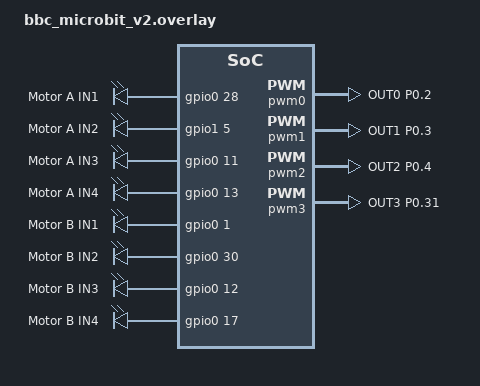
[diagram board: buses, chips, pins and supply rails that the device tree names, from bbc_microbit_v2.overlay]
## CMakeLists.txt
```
cmake_minimum_required(VERSION 3.20.0)
find_package(Zephyr REQUIRED HINTS $ENV{ZEPHYR_BASE})

project(reciver)

target_sources(app PRIVATE
    src/main.c
    src/receiver_ble.c
    src/motor_controls.c
    src/pwm.c
    src/car_control.c
)
```

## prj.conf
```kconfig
CONFIG_SERIAL=y
CONFIG_CONSOLE=y
CONFIG_UART_CONSOLE=y
CONFIG_PRINTK=y

CONFIG_GPIO=y
CONFIG_PWM=y

CONFIG_SYSTEM_WORKQUEUE_STACK_SIZE=2048
CONFIG_MAIN_STACK_SIZE=2048
CONFIG_HEAP_MEM_POOL_SIZE=4096

# Bluetooth - Central (receiver scanner)
CONFIG_BT=y
CONFIG_BT_CENTRAL=y
CONFIG_BT_DEVICE_NAME="BLE_Car"
CONFIG_BT_MAX_CONN=1
CONFIG_BT_GATT_CLIENT=y
CONFIG_BT_GATT_DYNAMIC_DB=y

# Buffer
CONFIG_BT_L2CAP_TX_BUF_COUNT=8
CONFIG_BT_L2CAP_TX_MTU=65
CONFIG_BT_BUF_ACL_RX_SIZE=70
CONFIG_BT_BUF_ACL_TX_SIZE=27

# Connection timeout
CONFIG_BT_CREATE_CONN_TIMEOUT=15

# Scan
CONFIG_BT_SCAN=y
```

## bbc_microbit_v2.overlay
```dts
/{
    motor_direction_pins{

        compatible = "gpio-leds";
        motor_a_in1: motor_a_in1 {
            gpios = <&gpio0 28 0>; // edgeconnector P4;
            label = "Motor A IN1";
        };
        motor_a_in2: motor_a_in2 {
            gpios = <&gpio1 5 0>; // edgeconnector P6;
            label = "Motor A IN2";
        };
        motor_a_in3: motor_a_in3 {
            gpios = <&gpio0 11 0>; // edgeconnector P7;
            label = "Motor A IN3";
        };
        motor_a_in4: motor_a_in4 {
            gpios = <&gpio0 13 0>; // edgeconnector P15;
            label = "Motor A IN4";
        };
        motor_b_in1: motor_b_in1 {
            gpios = <&gpio0 1 0>; // edgeconnector P14
            label = "Motor B IN1";
        };
        motor_b_in2: motor_b_in2 {
            gpios = <&gpio0 30 0>; // edgeconnector P10
            label = "Motor B IN2";
        };
        motor_b_in3: motor_b_in3 {
            gpios = <&gpio0 12 0>; // edgeconnector P12;
            label = "Motor B IN3";
        };
        motor_b_in4: motor_b_in4 {
            gpios = <&gpio0 17 0>; // edgeconnector P13;
            label = "Motor B IN4";
        };
    };
};
    




&pinctrl {
    pwm0_default_alt: pwm0_default_alt {
        group1 {
            psels = <NRF_PSEL(PWM_OUT0, 0, 2)>; //on edgeconnector P0
            nordic,invert;
        };
    };
    pwm0_sleep_alt: pwm0_sleep_alt {
        group1 {
            psels = <NRF_PSEL(PWM_OUT0, 0, 2)>; //on edgeconnector P0
            low-power-enable;
        };
    };

    pwm1_default_alt: pwm1_default_alt {
        group1 {
            psels = <NRF_PSEL(PWM_OUT1, 0, 3)>; //on edgeconnector P1
            nordic,invert;
        };
    };

    pwm1_sleep_alt: pwm1_sleep_alt {
        group1 {
            psels = <NRF_PSEL(PWM_OUT1, 0, 3)>; //on edgeconnector P1
            low-power-enable;
        };
    };

    pwm2_default_alt: pwm2_default_alt {
        group1 {
            psels = <NRF_PSEL(PWM_OUT2, 0, 4)>; //on edgeconnector P2
            nordic,invert;
        };
    };

    pwm2_sleep_alt: pwm2_sleep_alt {
        group1 {
            psels = <NRF_PSEL(PWM_OUT2, 0, 4)>; //on edgeconnector P2
            low-power-enable;
        };
    };

    pwm3_default_alt: pwm3_default_alt {
        group1 {
            psels = <NRF_PSEL(PWM_OUT3, 0, 31)>; //on edgeconnector P3
            nordic,invert;
        };
    };

    pwm3_sleep_alt: pwm3_sleep_alt {
        group1 {
            psels = <NRF_PSEL(PWM_OUT3, 0, 31)>; //on edgeconnector P3
            low-power-enable;
        };
    };
};


&pwm0 {
    status = "okay";
    pinctrl-0 = <&pwm0_default_alt>;
    pinctrl-1 = <&pwm0_sleep_alt>;
    pinctrl-names = "default", "sleep";
    label = "PWM_0";
};
&pwm1 {
    status = "okay";
    pinctrl-0 = <&pwm1_default_alt>;
    pinctrl-1 = <&pwm1_sleep_alt>;
    pinctrl-names = "default", "sleep";
    label = "PWM_1";
};
&pwm2 {
    status = "okay";
    pinctrl-0 = <&pwm2_default_alt>;
    pinctrl-1 = <&pwm2_sleep_alt>;
    pinctrl-names = "default", "sleep";
    label = "PWM_2";
};
&pwm3 {
    status = "okay";
    pinctrl-0 = <&pwm3_default_alt>;
    pinctrl-1 = <&pwm3_sleep_alt>;
    pinctrl-names = "default", "sleep";
    label = "PWM_3";
};
```

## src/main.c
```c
#include <zephyr/kernel.h>
#include <zephyr/sys/printk.h>
#include <zephyr/drivers/gpio.h>
#include <zephyr/drivers/pwm.h>
#include <stdint.h>
#include "pwm.h"
#include "motor_controls.h"
#include "serial.h"
#include "gatekeeper.h"
#include <zephyr/device.h>
#include <zephyr/drivers/uart.h>
#include "car_control.h"

int main(void)
{
    // Initialize car controller
    if (car_controller_init() != 0) {
        printk("Car controller initialization failed!\n");
        return -1;
    }

    // motors_start();
    Serial_begin(); 
    car_controller_start();

    while (1) {
        car_controller_check_timeout();
        timeout_control();
        k_msleep(50);
    };
    return 0;
}
```

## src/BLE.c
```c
//BLE.c - Receiver SIMPLIFIED VERSION

#include "BLE.h"
#include <zephyr/kernel.h>
#include <zephyr/sys/printk.h>
#include <zephyr/bluetooth/gatt.h>
#include <zephyr/bluetooth/uuid.h>

#define JOYSTICK_SVC_UUID \
	BT_UUID_128_ENCODE(0x12345678, 0x1234, 0x5678, 0x1234, 0x56789abcdef0)
#define JOYSTICK_CHR_UUID \
	BT_UUID_128_ENCODE(0x12345678, 0x1234, 0x5678, 0x1234, 0x56789abcdef1)

static struct bt_uuid_128 joystick_svc_uuid = BT_UUID_INIT_128(JOYSTICK_SVC_UUID);
static struct bt_uuid_128 joystick_chr_uuid = BT_UUID_INIT_128(JOYSTICK_CHR_UUID);
static struct bt_uuid *gatt_ccc_uuid = BT_UUID_GATT_CCC;

static struct bt_gatt_discover_params discov_param;
static struct bt_gatt_subscribe_params subscribe_param;
static struct bt_conn *default_conn;
static joystick_data_callback_t user_callback = NULL;

/* Scan work for reconnect */
static void restart_scan_work(struct k_work *work);
K_WORK_DELAYABLE_DEFINE(scan_work, restart_scan_work);

static void restart_scan_work(struct k_work *work)
{
	if (!default_conn) {
		printk("Restarting scan...\n");
		ble_start_scan();
	}
}

/* Notification callback */
static uint8_t notify_func(struct bt_conn *conn,
                           struct bt_gatt_subscribe_params *param,
                           const void *buf, uint16_t len)
{
	if (!buf || !len) {
		printk("Unsubscribed\n");
		return BT_GATT_ITER_STOP;
	}

	if (len == sizeof(struct joystick_data) && user_callback) {
		user_callback((const struct joystick_data *)buf);
	}
	return BT_GATT_ITER_CONTINUE;
}

/* GATT discovery */
static uint8_t discover_func(struct bt_conn *conn,
                             const struct bt_gatt_attr *attr,
                             struct bt_gatt_discover_params *param)
{
	int err;

	if (!attr) {
		printk("Discovery complete\n");
		return BT_GATT_ITER_STOP;
	}

	if (param->uuid == &joystick_svc_uuid.uuid) {
		printk("Service found\n");
		discov_param.uuid = &joystick_chr_uuid.uuid;
		discov_param.start_handle = attr->handle + 1;
		discov_param.type = BT_GATT_DISCOVER_CHARACTERISTIC;
		bt_gatt_discover(conn, &discov_param);
	} else if (param->uuid == &joystick_chr_uuid.uuid) {
		printk("Characteristic found\n");
		discov_param.uuid = gatt_ccc_uuid;
		discov_param.start_handle = attr->handle + 2;
		discov_param.type = BT_GATT_DISCOVER_DESCRIPTOR;
		subscribe_param.value_handle = attr->handle + 1;
		bt_gatt_discover(conn, &discov_param);
	} else {
		printk("Subscribing...\n");
		subscribe_param.notify = notify_func;
		subscribe_param.value = BT_GATT_CCC_NOTIFY;
		subscribe_param.ccc_handle = attr->handle;

		err = bt_gatt_subscribe(conn, &subscribe_param);
		if (err && err != -EALREADY) {
			printk("Subscribe failed: %d\n", err);
		} else {
			printk("Subscribed - READY!\n");
		}
	}
	return BT_GATT_ITER_STOP;
}

/* Scan callback */
static void device_found(const bt_addr_le_t *addr, int8_t rssi, uint8_t type,
                         struct net_buf_simple *ad_buf)
{
	if (default_conn || type != BT_GAP_ADV_TYPE_ADV_IND) return;

	while (ad_buf->len > 1) {
		uint8_t len = net_buf_simple_pull_u8(ad_buf);
		if (len == 0U || len > ad_buf->len) return;

		uint8_t ad_type = net_buf_simple_pull_u8(ad_buf);

		if (ad_type == BT_DATA_UUID128_ALL && len == 17) {
			if (!memcmp(ad_buf->data, joystick_svc_uuid.val, 16)) {
				char addr_str[BT_ADDR_LE_STR_LEN];
				bt_addr_le_to_str(addr, addr_str, sizeof(addr_str));
				printk("Found joystick: %s (RSSI %d)\n", addr_str, rssi);

				bt_le_scan_stop();

				/* Connect med default parametere - sender vil oppdatere */
				int err = bt_conn_le_create(addr, BT_CONN_LE_CREATE_CONN,
				                            BT_LE_CONN_PARAM_DEFAULT, &default_conn);
				if (err) {
					printk("Connect failed: %d\n", err);
					k_work_schedule(&scan_work, K_MSEC(500));
				}
				return;
			}
		}
		net_buf_simple_pull(ad_buf, len - 1);
	}
}

/* Connection callbacks */
static void connected(struct bt_conn *conn, uint8_t err)
{
	char addr[BT_ADDR_LE_STR_LEN];
	bt_addr_le_to_str(bt_conn_get_dst(conn), addr, sizeof(addr));

	if (err) {
		printk("Connect to %s failed: 0x%02x\n", addr, err);
		if (default_conn) {
			bt_conn_unref(default_conn);
			default_conn = NULL;
		}
		k_work_schedule(&scan_work, K_MSEC(200));
		return;
	}

	printk("Connected: %s\n", addr);

	/* Start discovery */
	discov_param.uuid = &joystick_svc_uuid.uuid;
	discov_param.func = discover_func;
	discov_param.start_handle = BT_ATT_FIRST_ATTRIBUTE_HANDLE;
	discov_param.end_handle = BT_ATT_LAST_ATTRIBUTE_HANDLE;
	discov_param.type = BT_GATT_DISCOVER_PRIMARY;

	err = bt_gatt_discover(default_conn, &discov_param);
	if (err) {
		printk("Discovery failed: %d\n", err);
	}
}

static void disconnected(struct bt_conn *conn, uint8_t reason)
{
	printk("Disconnected: 0x%02x\n", reason);

	if (default_conn) {
		bt_conn_unref(default_conn);
		default_conn = NULL;
	}

	/* Rask reconnect - 100ms */
	k_work_schedule(&scan_work, K_MSEC(100));
}

/* Connection parameter update callback */
static void le_param_updated(struct bt_conn *conn, uint16_t interval,
                             uint16_t latency, uint16_t timeout)
{
	printk("Conn params: interval=%d (%.1fms), timeout=%d (%dms)\n",
	       interval, interval * 1.25, timeout, timeout * 10);
}

static struct bt_conn_cb conn_callbacks = {
	.connected = connected,
	.disconnected = disconnected,
	.le_param_updated = le_param_updated,
};

/* Public API */
int ble_init(joystick_data_callback_t cb)
{
	user_callback = cb;

	int err = bt_enable(NULL);
	if (err) {
		printk("BT init failed: %d\n", err);
		return err;
	}
	printk("Bluetooth ready\n");
	bt_conn_cb_register(&conn_callbacks);
	return 0;
}

int ble_start_scan(void)
{
	if (default_conn) return 0;

	int err = bt_le_scan_start(BT_LE_SCAN_PASSIVE, device_found);
	if (err && err != -EALREADY) {
		printk("Scan failed: %d\n", err);
		return err;
	}
	printk("Scanning for BitPlayer_Joy...\n");
	return 0;
}

bool ble_is_connected(void)
{
	return default_conn != NULL;
}
```

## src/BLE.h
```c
#ifndef BLE_H
#define BLE_H

#include <zephyr/bluetooth/bluetooth.h>
#include <zephyr/bluetooth/conn.h>
#include <stdbool.h>

struct joystick_data {
	int16_t x_pos;
	int16_t y_pos;
	uint8_t buttons;
} __packed;

#define BTN_A_MASK (1 << 0)
#define BTN_B_MASK (1 << 1)

typedef void (*joystick_data_callback_t)(const struct joystick_data *data);

int ble_init(joystick_data_callback_t cb);
int ble_start_scan(void);
bool ble_is_connected(void);

#endif
```

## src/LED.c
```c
#include <zephyr/kernel.h>
#include <zephyr/sys/printk.h>
#include <zephyr/drivers/gpio.h>
#include <stdint.h>

#include "LED.h"

/* GPIO specs from devicetree */
static const struct gpio_dt_spec led_test = GPIO_DT_SPEC_GET(DT_NODELABEL(led_test), gpios);
static const struct gpio_dt_spec led_up = GPIO_DT_SPEC_GET(DT_NODELABEL(led_up), gpios);
static const struct gpio_dt_spec led_down = GPIO_DT_SPEC_GET(DT_NODELABEL(led_down), gpios);
static const struct gpio_dt_spec led_left = GPIO_DT_SPEC_GET(DT_NODELABEL(led_left), gpios);
static const struct gpio_dt_spec led_right = GPIO_DT_SPEC_GET(DT_NODELABEL(led_right), gpios);

/* LED mapping structure */
typedef struct {
    const struct gpio_dt_spec *spec;
    const char *label;
} led_channel_t;

static const led_channel_t leds[] = {
    {&led_up,    "LED Up"},
    {&led_down,  "LED Down"},
    {&led_left,  "LED Left"},
    {&led_right, "LED Right"}
};

/* Joystick thresholds */
#define THRESHOLD_HIGH  700
#define THRESHOLD_LOW   300
#define NEUTRAL_MIN     400
#define NEUTRAL_MAX     600

/* Idle animation system */
#define IDLE_ANIMATION_INTERVAL_MS  150  /* Hastighet på animasjon */

static struct k_work_delayable idle_work;
static bool idle_running = false;
static uint8_t idle_step = 0;

/* Animasjonsmønster: roterer rundt (Up -> Right -> Down -> Left -> ...) */
static const LED_Name animation_pattern[] = {
    LED_Up,
    LED_Right,
    LED_Down,
    LED_Left
};
#define ANIMATION_STEPS (sizeof(animation_pattern) / sizeof(animation_pattern[0]))

/* Idle animation work handler */
static void idle_animation_handler(struct k_work *work)
{
    if (!idle_running) {
        return;
    }

    /* Slå av alle LED-er */
    led_all_off();

    /* Tenn neste LED i mønsteret */
    led_set(animation_pattern[idle_step], LED_On);

    /* Gå til neste steg */
    idle_step = (idle_step + 1) % ANIMATION_STEPS;

    /* Schedule neste steg */
    k_work_reschedule(&idle_work, K_MSEC(IDLE_ANIMATION_INTERVAL_MS));
}

int led_init(void)
{
    int ret;

    printk("Initializing LED system...\n");

    /* Configure test LED first */
    if (!gpio_is_ready_dt(&led_test)) {
        printk("Error: Test LED GPIO device not ready\n");
        return -1;
    }

    ret = gpio_pin_configure_dt(&led_test, GPIO_OUTPUT_ACTIVE);
    if (ret < 0) {
        printk("Error: Failed to configure test LED (err %d)\n", ret);
        return ret;
    }
    
    printk("Test LED (P1) initialized and turned ON\n");

    /* Configure all direction LED pins as output */
    for (size_t i = 0; i < ARRAY_SIZE(leds); i++) {
        if (!gpio_is_ready_dt(leds[i].spec)) {
            printk("Error: LED GPIO device not ready for %s\n", leds[i].label);
            return -1;
        }

        ret = gpio_pin_configure_dt(leds[i].spec, GPIO_OUTPUT_INACTIVE);
        if (ret < 0) {
            printk("Error: Failed to configure %s (err %d)\n", leds[i].label, ret);
            return ret;
        }
    }

    /* Initialize idle animation work */
    k_work_init_delayable(&idle_work, idle_animation_handler);

    printk("LED system initialized successfully\n");
    printk("  - LED Test:  P%d (ALWAYS ON)\n", led_test.pin);
    printk("  - LED Up:    P%d\n", led_up.pin);
    printk("  - LED Down:  P%d\n", led_down.pin);
    printk("  - LED Left:  P%d\n", led_left.pin);
    printk("  - LED Right: P%d\n", led_right.pin);
    printk("  - Idle animation: %d ms interval\n", IDLE_ANIMATION_INTERVAL_MS);

    return 0;
}

void led_set(LED_Name led, LED_State state)
{
    if (led >= ARRAY_SIZE(leds)) {
        printk("Error: Invalid LED selection.\n");
        return;
    }

    const led_channel_t *selected_led = &leds[led];
    int value = (state == LED_On) ? 1 : 0;

    gpio_pin_set_dt(selected_led->spec, value);
}

void led_all_off(void)
{
    for (size_t i = 0; i < ARRAY_SIZE(leds); i++) {
        gpio_pin_set_dt(leds[i].spec, 0);
    }
    /* Test LED forblir på */
}

void led_update_direction(int16_t x_pos, int16_t y_pos)
{
    /* Turn off all LEDs first */
    led_all_off();

    /* Check Y-axis (UP/DOWN) */
    if (y_pos > THRESHOLD_HIGH) {
        led_set(LED_Up, LED_On);
        printk("Direction: UP (Y=%d)\n", y_pos);
    } else if (y_pos < THRESHOLD_LOW) {
        led_set(LED_Down, LED_On);
        printk("Direction: DOWN (Y=%d)\n", y_pos);
    }

    /* Check X-axis (LEFT/RIGHT) */
    if (x_pos > THRESHOLD_HIGH) {
        led_set(LED_Right, LED_On);
        printk("Direction: RIGHT (X=%d)\n", x_pos);
    } else if (x_pos < THRESHOLD_LOW) {
        led_set(LED_Left, LED_On);
        printk("Direction: LEFT (X=%d)\n", x_pos);
    }

    /* If in neutral zone, no LED lights up */
    if (x_pos >= NEUTRAL_MIN && x_pos <= NEUTRAL_MAX &&
        y_pos >= NEUTRAL_MIN && y_pos <= NEUTRAL_MAX) {
        printk("Direction: NEUTRAL\n");
    }
}

void led_start_idle_animation(void)
{
    if (idle_running) {
        return;  /* Allerede kjører */
    }

    printk(">>> Starting idle animation <<<\n");
    idle_running = true;
    idle_step = 0;

    /* Start animasjonen */
    k_work_reschedule(&idle_work, K_NO_WAIT);
}

void led_stop_idle_animation(void)
{
    if (!idle_running) {
        return;  /* Kjører ikke */
    }

    printk(">>> Stopping idle animation <<<\n");
    idle_running = false;

    /* Stopp work og slå av LED-er */
    k_work_cancel_delayable(&idle_work);
    led_all_off();
}
```

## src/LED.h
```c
#ifndef LED_H
#define LED_H

#include <stdint.h>

typedef enum {
    LED_Up,
    LED_Down,
    LED_Left,
    LED_Right
} LED_Name;

typedef enum {
    LED_Off,
    LED_On
} LED_State;

/**
 * @brief Initialize LED system
 * @return 0 on success, negative on error
 */
int led_init(void);

/**
 * @brief Control a single LED
 * @param led LED to control
 * @param state LED_On or LED_Off
 */
void led_set(LED_Name led, LED_State state);

/**
 * @brief Turn off all LEDs
 */
void led_all_off(void);

/**
 * @brief Update LEDs based on joystick position
 * @param x_pos X position from joystick (0-1023)
 * @param y_pos Y position from joystick (0-1023)
 */
void led_update_direction(int16_t x_pos, int16_t y_pos);

/**
 * @brief Start idle animation (rotating pattern)
 */
void led_start_idle_animation(void);

/**
 * @brief Stop idle animation
 */
void led_stop_idle_animation(void);

#endif /* LED_H */
```

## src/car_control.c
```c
#include <zephyr/kernel.h>
#include <zephyr/sys/printk.h>

#include "car_control.h"
#include "receiver_ble.h"
#include "motor_controls.h"

#define TIMEOUT_MS 1000      /* Stopp motorene hvis ingen data på 1 sekund */

static Motor_direction current_dir = Stop;
static uint8_t current_speed = 0;
static int64_t last_rx = 0;
static bool motors_on = false;

static const char *dir_name(Motor_direction d)
{
    switch (d) {
        case Forward: return "FWD";
        case Backward: return "BWD";
        case Rotate_Right: return "ROT_R";
        case Rotate_Left: return "ROT_L";
        case Right: return "RIGHT";
        case Left: return "LEFT";
        case Stop: return "STOP";
        case Idle: return "IDLE";
        default: return "?";
    }
}

static void on_drive_data(Motor_direction dir, uint8_t speed)
{
  
    last_rx = k_uptime_get();

    if (dir == Idle) {
        bluetouth_release(); // Frigjør kontroll hvis Idle mottatt (Gjør at serial tar over)
        // bt_active = false; Serial tar over i bluetouth_release
        return;
    }

    bluetouth_signal_recived(); // Oppdater timeout
    // bt_active = true; Serial blir blokket

    printk("[RX] %-5s %3d%%\n", dir_name(dir), speed);

    if(dir == Stop){
        if (motors_on) {
            Stop_motors();
            motors_on = false;
        }
    } else {
        Drive_motors(dir, speed);
        motors_on = true;
    }
}

int car_controller_init(void)
{
    printk("\n=== BLE Car Receiver ===\n");
    printk("Receives Motor_direction directly\n\n");

    /* Init motors */
    if (motors_start() != 0) {
        printk("Motor init failed\n");
        return -1;
    }
    printk("Motors ready\n");

    /* Init BLE */
    if (ble_init(on_drive_data) != 0) {
        printk("BLE init failed\n");
        return -1;
    }
    printk("BLE initialized\n");
    return 0;

}

void car_controller_start(void){
    ble_start_scan();
}

// Periodisk sjekk for timeout
void car_controller_check_timeout(void){ 
    /* Main loop - bare timeout sjekk */
    if (last_rx > 0 && motors_on) {
        int64_t age = k_uptime_get() - last_rx;
        if (age > TIMEOUT_MS) {
            printk("[TIMEOUT] Stopping\n");
            Stop_motors();
            motors_on = false;
        }
    }
}
```

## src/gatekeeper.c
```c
#include <zephyr/kernel.h>
#include <zephyr/sys/printk.h>
#include "gatekeeper.h"
#include "motor_controls.h"
#include "serial.h"

static bool bt_active = false; 
static int64_t bt_timer_until_timeout = 0;

#define CONTROL_TIMEOUT_MS 3000 // 3 sekunder

// Kalles når Bluetooth kontroll mottar signal
void bluetouth_signal_recived(){
    bt_timer_until_timeout = k_uptime_get();
    if(!bt_active){
        printk("Bluetooth control activated.\n");
        bt_active = true;
    }
}

// Kalles når Bluetooth kontroll frigis (Gjør at serial tar over)
void bluetouth_release(){
    if(bt_active){
        bt_active = false;
        printk("Bluetooth control released.\n");
        execute_serial_last_action();// Gjenoppta siste serial handling // kan fjær
    }
}

// Kalles periodisk for å sjekke om Bluetooth kontroll skal frigjøres
void timeout_control(){
    if(bt_active){
        int64_t current_time = k_uptime_get();
        if(current_time - bt_timer_until_timeout >= CONTROL_TIMEOUT_MS){
            bt_active = false;
            printk("Bluetooth control deactivated due to timeout.\n");
            execute_serial_last_action(); // Gjenoppta siste serial handling // kan fjærnees men serial vil ikke gjennoppta handling før ny serial kommando mottas
        }
    }
}


bool bluetouth_in_control(){ // sjekker om knapper er trykket
    return bt_active; 
}
```

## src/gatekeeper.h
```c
#ifndef GATEKEEPER_H
#define GATEKEEPER_H

#include <stdbool.h>

void bluetouth_signal_recived();
void bluetouth_release(); // Frigjør Bluetooth kontroll
void timeout_control();

bool bluetouth_in_control();

#endif
```

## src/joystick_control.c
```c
#include <zephyr/sys/printk.h>
#include "joystick_control.h"
#include "motor_controls.h"

#define JOY_CENTER      512
#define JOY_DEADZONE    50
#define JOY_MAX         1023

static int16_t last_y_pos = JOY_CENTER;

static int16_t last_x_pos = JOY_CENTER;

void joystick_drive(int16_t x_pos, int16_t y_pos)
{
    int32_t forward = 0;
    int32_t turn = 0;

    /* Y axis = forward/backward */
    if (y_pos > JOY_CENTER + JOY_DEADZONE) {
        forward = ((y_pos - JOY_CENTER) * 100) / (JOY_MAX - JOY_CENTER);
    } else if (y_pos < JOY_CENTER - JOY_DEADZONE) {
        forward = ((y_pos - JOY_CENTER) * 100) / JOY_CENTER;
    }

    /* X axis = turning */
    if (x_pos > JOY_CENTER + JOY_DEADZONE) {
        turn = ((x_pos - JOY_CENTER) * 100) / (JOY_MAX - JOY_CENTER);
    } else if (x_pos < JOY_CENTER - JOY_DEADZONE) {
        turn = ((x_pos - JOY_CENTER) * 100) / JOY_CENTER;
    }

    /* Ingen input - stopp */
    if (forward == 0 && turn == 0) {

        bool was_forward = last_y_pos > (JOY_CENTER + JOY_DEADZONE);
        bool going_backward = y_pos < (JOY_CENTER - JOY_DEADZONE);

       
        bool was_backward = last_y_pos < (JOY_CENTER - JOY_DEADZONE);
        bool going_forward = y_pos > (JOY_CENTER + JOY_DEADZONE);

        bool was_active = (last_y_pos > JOY_CENTER + JOY_DEADZONE) || 
                          (last_y_pos < JOY_CENTER - JOY_DEADZONE);

        if (was_active)
        {
             Stop_motors(); 
             // Legg inn en liten forsinkelse her hvis problemet vedvarer (ikke ideelt, men kan hjelpe L298N)
             // k_sleep(K_MSEC(1)); 
        }
        
        last_y_pos = y_pos;
        last_x_pos = x_pos;

        return;
    }



    /* Tank drive mixing - forward + turn */
    int32_t left = forward + turn;
    int32_t right = forward - turn;

    /* Clamp til -100 til +100 */
    if (left > 100) left = 100;
    if (left < -100) left = -100;
    if (right > 100) right = 100;
    if (right < -100) right = -100;

    /* Bestem retning og hastighet for venstre side */
    Motor_direction left_dir = Stop;
    uint32_t left_speed = 0;

    if (left > 0) {
        left_dir = Forward;
        left_speed = (uint32_t)left;
    } else if (left < 0) {
        left_dir = Backward;
        left_speed = (uint32_t)(-left);
    }

    /* Bestem retning og hastighet for høyre side */
    Motor_direction right_dir = Stop;
    uint32_t right_speed = 0;

    if (right > 0) {
        right_dir = Forward;
        right_speed = (uint32_t)right;
    } else if (right < 0) {
        right_dir = Backward;
        right_speed = (uint32_t)(-right);
    }

    /* Kjør motorene - bruker nye motor navn */
    Drive_one_motor(Motor_Left_Front, left_dir, left_speed);
    Drive_one_motor(Motor_Left_Back, left_dir, left_speed);
    Drive_one_motor(Motor_Right_Front, right_dir, right_speed);
    Drive_one_motor(Motor_Right_Back, right_dir, right_speed);

    last_y_pos = y_pos;
    last_x_pos = x_pos;
}
```

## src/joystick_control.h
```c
#ifndef JOYSTICK_CONTROL_H
#define JOYSTICK_CONTROL_H

#include <stdint.h>

/* Tar joystick x/y og styrer motorene */
void joystick_drive(int16_t x_pos, int16_t y_pos);

#endif
```

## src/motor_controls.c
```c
#include <zephyr/kernel.h>
#include <zephyr/sys/printk.h>
#include <zephyr/drivers/gpio.h>
#include <zephyr/drivers/pwm.h>
#include <stdint.h>

#include "pwm.h"
#include "motor_controls.h"

static const struct gpio_dt_spec motor_a_in1 = GPIO_DT_SPEC_GET(DT_NODELABEL(motor_a_in1), gpios);
static const struct gpio_dt_spec motor_a_in2 = GPIO_DT_SPEC_GET(DT_NODELABEL(motor_a_in2), gpios);
static const struct gpio_dt_spec motor_a_in3 = GPIO_DT_SPEC_GET(DT_NODELABEL(motor_a_in3), gpios);
static const struct gpio_dt_spec motor_a_in4 = GPIO_DT_SPEC_GET(DT_NODELABEL(motor_a_in4), gpios);

static const struct gpio_dt_spec motor_b_in1 = GPIO_DT_SPEC_GET(DT_NODELABEL(motor_b_in1), gpios);
static const struct gpio_dt_spec motor_b_in2 = GPIO_DT_SPEC_GET(DT_NODELABEL(motor_b_in2), gpios);
static const struct gpio_dt_spec motor_b_in3 = GPIO_DT_SPEC_GET(DT_NODELABEL(motor_b_in3), gpios);
static const struct gpio_dt_spec motor_b_in4 = GPIO_DT_SPEC_GET(DT_NODELABEL(motor_b_in4), gpios);

typedef struct {
    const struct gpio_dt_spec *in1;
    const struct gpio_dt_spec *in2;
    int (*pwm_write)(uint32_t value);
} motor_channel_t;

static const motor_channel_t motors[] = {
    {&motor_a_in1, &motor_a_in2, pwm_write_front_a},
    {&motor_a_in3, &motor_a_in4, pwm_write_front_b},
    {&motor_b_in1, &motor_b_in2, pwm_write_back_a},
    {&motor_b_in3, &motor_b_in4, pwm_write_back_b}
};

static uint32_t percentage_to_pwm(uint32_t speed_percentage){
    if(speed_percentage > 100){
        speed_percentage = 100;
    }
    return (speed_percentage * pwm_period_ns) / 100;
}

int motors_start(){
    const struct gpio_dt_spec *gpio_pins[] = {
        &motor_a_in1, &motor_a_in2,
        &motor_a_in3, &motor_a_in4,
        &motor_b_in1, &motor_b_in2,
        &motor_b_in3, &motor_b_in4

    };
    int check = 0;

    for(size_t i = 0; i < ARRAY_SIZE(gpio_pins); i++){
        if (!gpio_is_ready_dt(gpio_pins[i])){
            printk("Error: One or more GPIO devices not ready.\n");
            return -1;
        }
        int check = gpio_pin_configure_dt(gpio_pins[i], GPIO_OUTPUT_INACTIVE);
        if(check < 0){
            printk("Error: Failed to configure GPIO pin %d.\n", i);
            return -1;
        }
    }

    if(pwm_begin() != 0){
        return -1;
    }
    return 0;
}

void Drive_one_motor(Motor_name motor, Motor_direction direction, uint32_t speed_percentage){
    if(motor >= ARRAY_SIZE(motors)){
        printk("Error: Invalid motor selection.\n");
        return; 
    }
    const motor_channel_t *selected_motor = &motors[motor];
    uint32_t pwm_value = percentage_to_pwm(speed_percentage);

    switch (direction){
        case Forward:
            gpio_pin_set_dt(selected_motor->in1, 1);
            gpio_pin_set_dt(selected_motor->in2, 0);
            break;
        case Backward:
            gpio_pin_set_dt(selected_motor->in1, 0);
            gpio_pin_set_dt(selected_motor->in2, 1);
            break;
        case Stop:
            gpio_pin_set_dt(selected_motor->in1, 0);
            gpio_pin_set_dt(selected_motor->in2, 0);
            pwm_value = 0;
            break;
        default:
            gpio_pin_set_dt(selected_motor->in1, 0);
            gpio_pin_set_dt(selected_motor->in2, 0);
            pwm_value = 0;
            break;
    }
    if(selected_motor->pwm_write(pwm_value) != 0){
    printk("Error: Failed to set PWM for motor %d.\n", motor);
    }
}

void Drive_motors(Motor_direction direction, uint32_t speed_percentage){
    if(direction == Stop){
        Stop_motors();
        return;
    }
    switch(direction){
        case Rotate_Right:
            Drive_one_motor(Motor_Left_Front, Forward, speed_percentage);
            Drive_one_motor(Motor_Left_Back, Forward, speed_percentage);
            Drive_one_motor(Motor_Right_Front, Backward, speed_percentage);
            Drive_one_motor(Motor_Right_Back, Backward, speed_percentage);
            return;
        case Rotate_Left:
            Drive_one_motor(Motor_Left_Front, Backward, speed_percentage);
            Drive_one_motor(Motor_Left_Back, Backward, speed_percentage);
            Drive_one_motor(Motor_Right_Front, Forward, speed_percentage);
            Drive_one_motor(Motor_Right_Back, Forward, speed_percentage);
            return;
        case Right:
            Drive_one_motor(Motor_Left_Front, Forward, speed_percentage);
            Drive_one_motor(Motor_Left_Back, Backward, speed_percentage);
            Drive_one_motor(Motor_Right_Front, Backward, speed_percentage);
            Drive_one_motor(Motor_Right_Back, Forward, speed_percentage);
            return;
        case Left:
            Drive_one_motor(Motor_Left_Front, Backward, speed_percentage);
            Drive_one_motor(Motor_Left_Back, Forward, speed_percentage);
            Drive_one_motor(Motor_Right_Front, Forward, speed_percentage);
            Drive_one_motor(Motor_Right_Back, Backward, speed_percentage);
            return;
        default:
            break;
    }

    Drive_one_motor(Motor_Left_Front, direction, speed_percentage);
    Drive_one_motor(Motor_Left_Back, direction, speed_percentage);
    Drive_one_motor(Motor_Right_Front, direction, speed_percentage);
    Drive_one_motor(Motor_Right_Back, direction, speed_percentage);
}

void Stop_motors(){
    Drive_one_motor(Motor_Left_Front, Stop, 0);
    Drive_one_motor(Motor_Left_Back, Stop, 0);
    Drive_one_motor(Motor_Right_Front, Stop, 0);
    Drive_one_motor(Motor_Right_Back, Stop, 0);
}
```

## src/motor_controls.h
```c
#ifndef MOTOR_CONTROLS_H
#define MOTOR_CONTROLS_H

typedef enum {
    Forward,
    Backward,
    Rotate_Right,
    Rotate_Left,
    Right,
    Left,
    Stop,
    Idle
}Motor_direction;

typedef enum{
    Motor_Left_Front,
    Motor_Left_Back,
    Motor_Right_Front,
    Motor_Right_Back
}Motor_name;

int motors_start();

void Drive_one_motor(Motor_name motor, Motor_direction direction, uint32_t speed_percentage);

void Drive_motors(Motor_direction direction, uint32_t speed_percentage);

void Stop_motors();

#endif
```

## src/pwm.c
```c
#include <stdint.h>
#include <zephyr/sys/printk.h>
#include <zephyr/device.h>
#include <zephyr/drivers/pwm.h>
#include <stdio.h>
#include "pwm.h"
static const struct device *front_a_speed;
static const struct device *front_b_speed;
static const struct device *back_a_speed;
static const struct device *back_b_speed;

int pwm_begin(){
    front_a_speed = device_get_binding("PWM_0");
    front_b_speed = device_get_binding("PWM_1");
    back_a_speed = device_get_binding("PWM_2");
    back_b_speed = device_get_binding("PWM_3");

    if (front_a_speed == NULL || front_b_speed == NULL || back_a_speed == NULL || back_b_speed == NULL){  
        printk("Error: One or more PWM devices not found.\n");
        return -1; // PWM devices not found
    }else{
        printk("All PWM devices are ready.\n");
        return 0; // All PWM devices ready
    }
}

int pwm_write_front_a(uint32_t value) {
    return pwm_set(front_a_speed, 0, pwm_period_ns, value, 0);
}

int pwm_write_front_b(uint32_t value) {
    return pwm_set(front_b_speed, 1, pwm_period_ns, value, 0);
}

int pwm_write_back_a(uint32_t value) {
    return pwm_set(back_a_speed, 2, pwm_period_ns, value, 0);
}

int pwm_write_back_b(uint32_t value) {
    return pwm_set(back_b_speed, 3, pwm_period_ns, value, 0);
}
```
